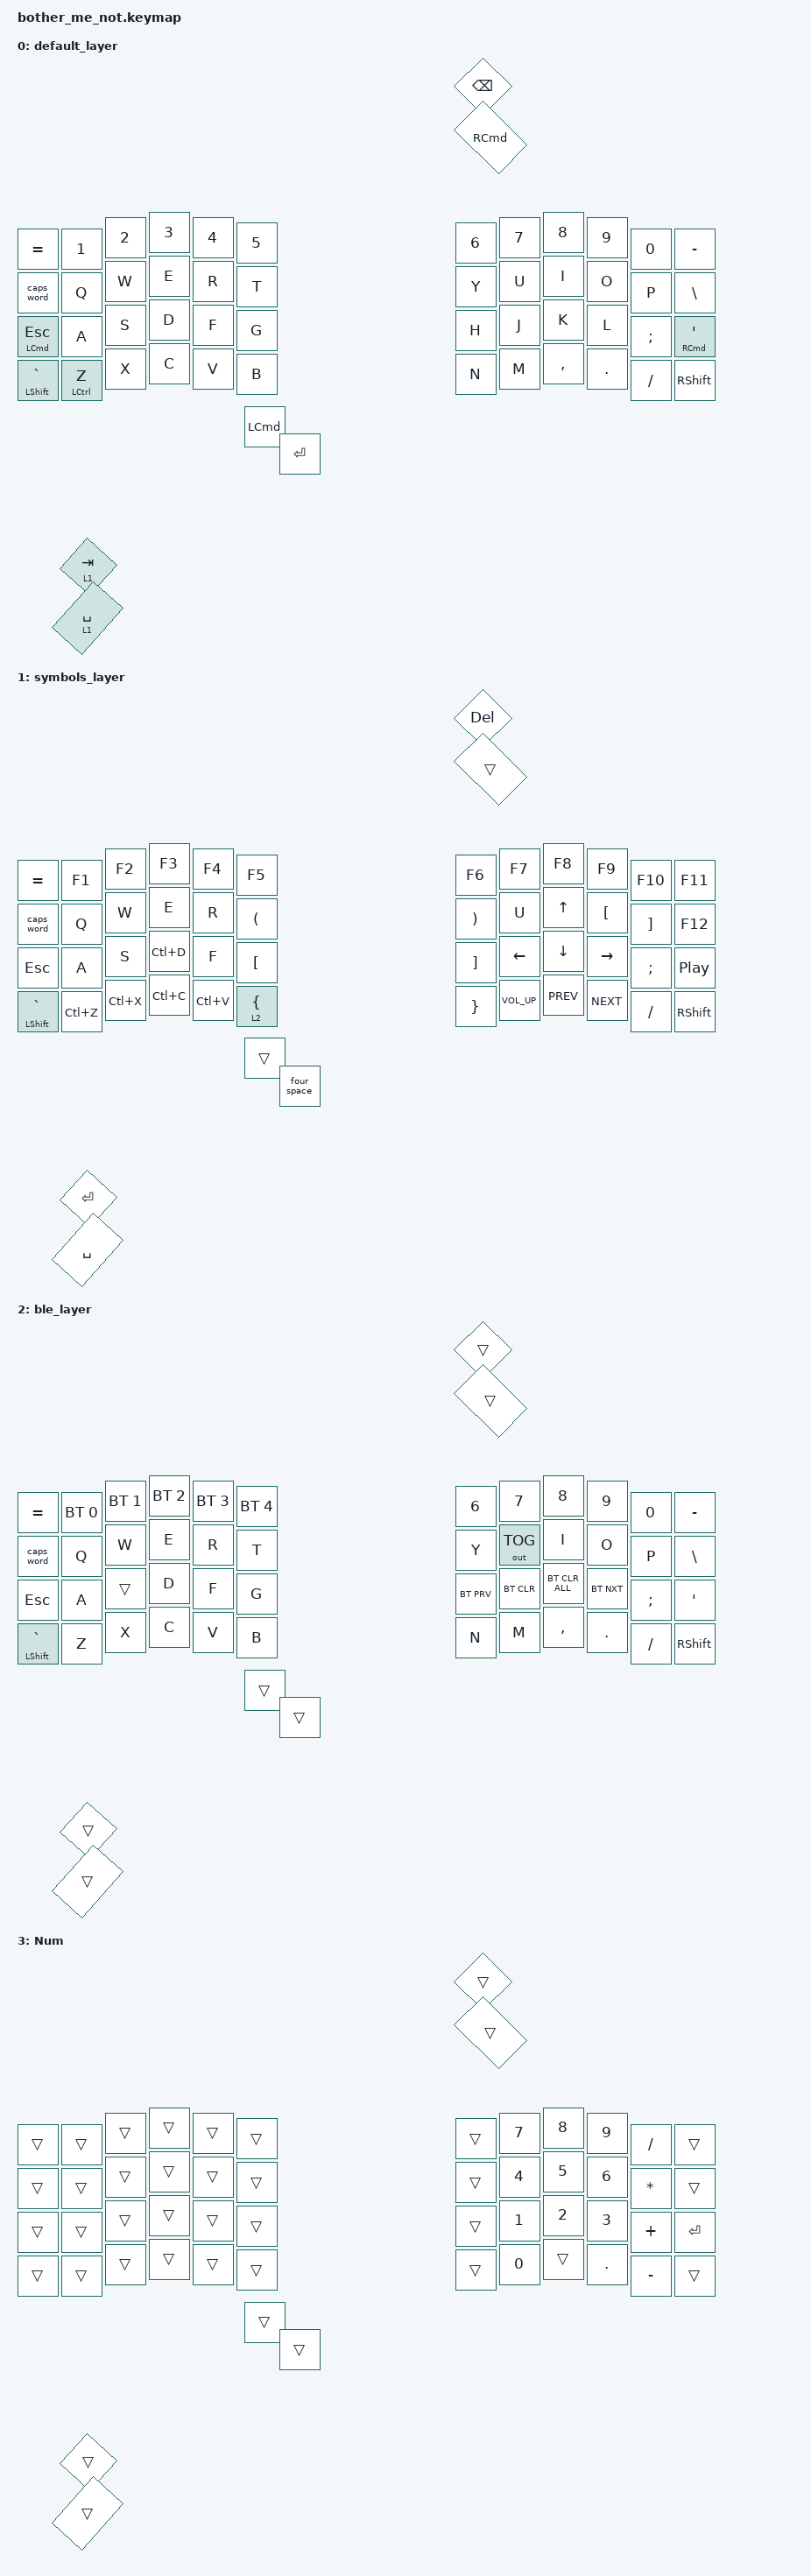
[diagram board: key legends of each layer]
#include <behaviors.dtsi>
#include <dt-bindings/zmk/bt.h>
#include <dt-bindings/zmk/keys.h>
#include <dt-bindings/zmk/outputs.h>

&caps_word { continue-list = <UNDERSCORE MINUS DELETE BACKSPACE>; };

&kscan0 {
    debounce-press-ms = <8>;
    debounce-release-ms = <8>;
};

/ {
    macros {
        four_space: four_space {
            compatible = "zmk,behavior-macro";
            wait-ms = <40>;
            tap-ms = <40>;
            #binding-cells = <0>;
            bindings =
                <&macro_tap>,
                <&kp SPACE>,
                <&macro_tap>,
                <&kp SPACE>,
                <&macro_tap>,
                <&kp SPACE>,
                <&macro_tap>,
                <&kp SPACE>;
        };
    };

    behaviors {
        rpi: require_prior_idle {
            compatible = "zmk,behavior-hold-tap";
            #binding-cells = <2>;
            flavor = "tap-preferred";
            tapping-term-ms = <200>;
            quick-tap-ms = <200>;
            require-prior-idle-ms = <125>;
            bindings = <&kp>, <&kp>;
        };

        ht_hp: hold_tap_hold_preferred {
            compatible = "zmk,behavior-hold-tap";
            #binding-cells = <2>;
            flavor = "hold-preferred";
            tapping-term-ms = <175>;
            bindings = <&kp>, <&kp>;
        };

        tdz: tap_dance_z {
            compatible = "zmk,behavior-tap-dance";
            #binding-cells = <0>;
            tapping-term-ms = <150>;
            bindings = <&rpi LCTRL Z>, <&kp LC(Z)>;
        };
    };

    combos {
        compatible = "zmk,combos";

        NumToggle {
            bindings = <&tog 3>;
            key-positions = <31 32 33>;
        };
    };

    keymap {
        compatible = "zmk,keymap";

        default_layer {
            //----------------------------------------------------------------------------------------------------------------
            //|   =   |   1   |   2   |   3   |   4   |   5   |            |   6   |   7   |   8   |   9   |   0   |   -   |
            //|CAPWORD|   Q   |   W   |   E   |   R   |   T   |            |   Y   |   U   |   I   |   O   |   P   |   \   |
            //|  ESC  |   A   |   S   |   D   |   F   |   G   |            |   H   |   J   |   K   |   L   |   ;   |   '   |
            //| LSFT `|   Z   |   X   |   C   |   V   |   B   |            |   N   |   M   |   ,   |   .   |   /   | RSHFT |
            //                              | L ALT | RET | BSPC |      | TAB | SPC | R ALT |

            bindings = <
&kp EQUAL            &kp N1        &kp N2  &kp N3  &kp N4  &kp N5                  &kp N6       &kp N7  &kp N8     &kp N9   &kp N0    &kp MINUS
&caps_word           &kp Q         &kp W   &kp E   &kp R   &kp T                   &kp Y        &kp U   &kp I      &kp O    &kp P     &kp BSLH
&rpi LCMD ESC        &kp A         &kp S   &kp D   &kp F   &kp G                   &kp H        &kp J   &kp K      &kp L    &kp SEMI  &rpi RCMD SQT
&ht_hp LSHIFT GRAVE  &rpi LCTRL Z  &kp X   &kp C   &kp V   &kp B                   &kp N        &kp M   &kp COMMA  &kp DOT  &kp FSLH  &kp RSHIFT
                                        &kp LCMD  &lt 1 TAB &kp BACKSPACE      &kp ENTER &lt 1 SPACE &kp RCMD
            >;
        };

        symbols_layer {
            //----------------------------------------------------------------------------------------------------------------
            //| trans |   F1  |   F2  |   F3  |   F4  |   F5  |            |   F6  |   F7  |   F8  |   F9  |  F10  |  F11  |
            //| trans | trans | trans | trans | trans | trans |            | trans | trans | trans |   [   |   ]   |  F12  |
            //| trans | trans | trans | ctrlD | trans | trans |            |  LEFT |  DOWN |  UP   | RIGHT |   ;   |play/pause|
            //| trans | ctrlZ | ctrlX | ctrlC | ctrlV | trans |            | VOL - | VOL + | prev  | next  |   /   | trans |
            //                              | trans | trans | DEL |     | 4 space | SPC | trans |

            bindings = <
&kp EQUAL         &kp F1     &kp F2     &kp F3     &kp F4     &kp F5            &kp F6        &kp F7        &kp F8      &kp F9      &kp F10   &kp F11
&caps_word        &kp Q      &kp W      &kp E      &kp R      &kp LPAR          &kp RPAR      &kp U         &kp UP      &kp LBKT    &kp RBKT  &kp F12
&kp ESC           &kp A      &kp S      &kp LC(D)  &kp F      &kp LBKT          &kp RBKT      &kp LEFT      &kp DOWN    &kp RIGHT   &kp SEMI  &kp C_PP
&mt LSHIFT GRAVE  &kp LC(Z)  &kp LC(X)  &kp LC(C)  &kp LC(V)  &lt 2 LBRC        &kp RBRC      &kp C_VOL_UP  &kp C_PREV  &kp C_NEXT  &kp FSLH  &kp RSHIFT
                                                    &trans &kp RET &kp DEL    &four_space &kp SPACE &trans
            >;
        };

        ble_layer {
            //----------------------------------------------------------------------------------------------------------------
            //| trans |  BT 0 |  BT 1 |  BT 2 |  BT 3 |  BT 4 |            |   F6  |   F7  |   F8  |   F9  |  F10  |  F11  |
            //| trans | trans | trans | trans | trans | trans |            | trans | BT/USB| trans |   [   |   ]   |  F12  |
            //| trans | trans | trans | ctrlD | trans | trans |            |BT PREV| BT CLR|CLR ALL|BT NEXT|   ;   |   '   |
            //| trans | ctrlZ | ctrlX | ctrlC | ctrlV | trans |            | VOL - | VOL + | prev  | next  |   /   | trans |
            //                              | trans | trans | DEL |     | 4 space | SPC | trans |

            bindings = <
&kp EQUAL        &bt BT_SEL 0 &bt BT_SEL 1   &bt BT_SEL 2 &bt BT_SEL 3 &bt BT_SEL 4        &kp N6     &kp N7       &kp N8         &kp N9     &kp N0   &kp MINUS
&caps_word       &kp Q        &kp W          &kp E        &kp R        &kp T               &kp Y      &out OUT_TOG &kp I          &kp O      &kp P    &kp BSLH
&kp ESC          &kp A        &trans         &kp D        &kp F        &kp G               &bt BT_PRV &bt BT_CLR   &bt BT_CLR_ALL &bt BT_NXT &kp SEMI &kp SQT
&mt LSHIFT GRAVE &kp Z        &kp X          &kp C        &kp V        &kp B               &kp N      &kp M        &kp COMMA      &kp DOT    &kp FSLH &kp RSHIFT
                                                            &trans &trans &trans       &trans &trans &trans
            >;
        };

        Num {
            bindings = <
&trans  &trans  &trans  &trans  &trans  &trans          &trans  &kp N7  &kp N8  &kp N9   &kp FSLH   &trans
&trans  &trans  &trans  &trans  &trans  &trans          &trans  &kp N4  &kp N5  &kp N6   &kp STAR   &trans
&trans  &trans  &trans  &trans  &trans  &trans          &trans  &kp N1  &kp N2  &kp N3   &kp PLUS   &kp ENTER
&trans  &trans  &trans  &trans  &trans  &trans          &trans  &kp N0  &trans  &kp DOT  &kp MINUS  &trans
                            &trans  &trans &trans    &trans &trans &trans
            >;
        };
    };
};
